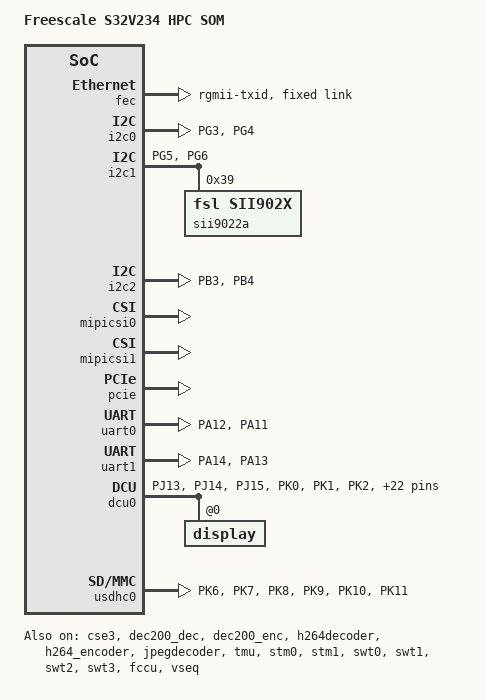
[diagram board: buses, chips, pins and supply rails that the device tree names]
// SPDX-License-Identifier: GPL-2.0+
/*
 * Copyright 2021 NXP
 *
 * This program is free software; you can redistribute it and/or modify
 * it under the terms of the GNU General Public License as published by
 * the Free Software Foundation; either version 2 of the License, or
 * (at your option) any later version.
 */

/dts-v1/;
#include "fsl-s32v234.dtsi"

/ {
	model = "Freescale S32V234 HPC SOM";
	compatible = "fsl,s32v234";

	chosen {
		stdout-path = "serial0:115200n8";
	};

	memory_DDR0@80000000 {
		device_type = "memory";
		reg = <0 0x80000000 0 0x20000000>;
	};

	memory_DDR1@c0000000 {
		device_type = "memory";
		reg = <0 0xc0000000 0 0x20000000>;
	};
};

&cse3 {
	status = "okay";
};

&dec200_dec {
	status = "okay";
};

&dec200_enc {
	status = "okay";
};

&edma {
	status = "okay";
};

&fdma {
	status = "okay";
};

&fec {
	status = "okay";
	phy-mode = "rgmii-txid";
	fixed-link {
		speed=<1000>;
		full-duplex;
	};
};

&gpioother {
	pinctrl-names = "default";
	pinctrl-0 = <&pinctrl_gpio>;
	status = "okay";
};

&h264decoder {
	status = "okay";
};

&h264_encoder {
	status = "okay";
};

&i2c0 {
	pinctrl-names = "default";
	pinctrl-0 = <&pinctrl_i2c0>;
	status = "okay";
};

&i2c1 {
	pinctrl-names = "default";
	pinctrl-0 = <&pinctrl_i2c1>;
	status = "okay";

	sii9022a@39 {
		compatible = "fsl,sii902x";
		reg = <0x39>;
	};
};

&i2c2 {
	pinctrl-names = "default";
	pinctrl-0 = <&pinctrl_i2c2>;
	status = "okay";
};

&jpegdecoder {
	status = "okay";
};

&mipicsi0 {
	status = "okay";
};

&mipicsi1 {
	status = "okay";
};

&pcie {
	status = "okay";
};

&gpioeirq {
	pinctrl-names = "default";
	pinctrl-0 = <&pinctrl_gpioeirq>;
	status = "okay";
};

&pinctrl {
	status = "okay";

	s32v234-conti-hpc {

		pinctrl_uart0: uart0grp {
			fsl,pins = <
				S32V234_PAD_PA12__UART0_TXD
				S32V234_PAD_PA11__UART0_RXD_OUT
				S32V234_PAD_PA11__UART0_RXD_IN
			>;
		};

		pinctrl_uart1: uart1grp {
			fsl,pins = <
				S32V234_PAD_PA14__UART1_TXD
				S32V234_PAD_PA13__UART1_RXD_OUT
				S32V234_PAD_PA13__UART1_RXD_IN
			>;
		};

		pinctrl_i2c0: i2c0grp {
			fsl,pins = <
				S32V234_PAD_PG3__I2C0_DATA_OUT
				S32V234_PAD_PG3__I2C0_DATA_IN
				S32V234_PAD_PG4__I2C0_SCLK_OUT
				S32V234_PAD_PG4__I2C0_SCLK_IN
			>;
		};

		pinctrl_i2c1: i2c1grp {
			fsl,pins = <
				S32V234_PAD_PG5__I2C1_DATA_OUT
				S32V234_PAD_PG5__I2C1_DATA_IN
				S32V234_PAD_PG6__I2C1_SCLK_OUT
				S32V234_PAD_PG6__I2C1_SCLK_IN
			>;
		};

		pinctrl_i2c2: i2c2grp {
			fsl,pins = <
				S32V234_PAD_PB3__I2C2_DATA_OUT
				S32V234_PAD_PB3__I2C2_DATA_IN
				S32V234_PAD_PB4__I2C2_SCLK_OUT
				S32V234_PAD_PB4__I2C2_SCLK_IN
			>;
		};

		pinctrl_dcu: dcugrp {
			fsl,pins = <
				S32V234_PAD_PJ13__DCU_B0_D18
				S32V234_PAD_PJ14__DCU_B1_D19
				S32V234_PAD_PJ15__DCU_B2_D20
				S32V234_PAD_PK0__DCU_B3_D21
				S32V234_PAD_PK1__DCU_B4_D22
				S32V234_PAD_PK2__DCU_B5_D23
				S32V234_PAD_PK3__DCU_B6_D24
				S32V234_PAD_PK4__DCU_B7_D25
				S32V234_PAD_PJ5__DCU_G0_D10
				S32V234_PAD_PJ6__DCU_G1_D11
				S32V234_PAD_PJ7__DCU_G2_D12
				S32V234_PAD_PJ8__DCU_G3_D13
				S32V234_PAD_PJ9__DCU_G4_D14
				S32V234_PAD_PJ10__DCU_G5_D15
				S32V234_PAD_PJ11__DCU_G6_D16
				S32V234_PAD_PJ12__DCU_G7_D17
				S32V234_PAD_PH13__DCU_R0_D2
				S32V234_PAD_PH14__DCU_R1_D3
				S32V234_PAD_PH15__DCU_R2_D4
				S32V234_PAD_PJ0__DCU_R3_D5
				S32V234_PAD_PJ1__DCU_R4_D6
				S32V234_PAD_PJ2__DCU_R5_D7
				S32V234_PAD_PJ3__DCU_R6_D8
				S32V234_PAD_PJ4__DCU_R7_D9
				S32V234_PAD_PH9__DCU_VSYNC_C2
				S32V234_PAD_PH8__DCU_HSYNC_C1
				S32V234_PAD_PH10__DCU_DE_C3
				S32V234_PAD_PH12__DCU_PCLK_D1_DSE_80
			>;
		};

		pinctrl_usdhc0: usdhc0grp {
			fsl,pins = <
				S32V234_PAD_PK6__USDHC_CLK_OUT
				S32V234_PAD_PK6__USDHC_CLK_IN
				S32V234_PAD_PK7__USDHC_CMD_OUT
				S32V234_PAD_PK7__USDHC_CMD_IN
				S32V234_PAD_PK8__USDHC_DAT0_OUT
				S32V234_PAD_PK8__USDHC_DAT0_IN
				S32V234_PAD_PK9__USDHC_DAT1_OUT
				S32V234_PAD_PK9__USDHC_DAT1_IN
				S32V234_PAD_PK10__USDHC_DAT2_OUT
				S32V234_PAD_PK10__USDHC_DAT2_IN
				S32V234_PAD_PK11__USDHC_DAT3_OUT
				S32V234_PAD_PK11__USDHC_DAT3_IN
			>;
		};

		pinctrl_enet: enetgrp {
			fsl,pins = <
				S32V234_PAD_PC15__TXCLK_OUT
				S32V234_PAD_PC15__TXCLK_IN
				S32V234_PAD_PD0__RXCLK_OUT
				S32V234_PAD_PD0__RXCLK_IN
				S32V234_PAD_PD11__TX_EN_OUT
				S32V234_PAD_PD4__RX_DV_OUT
				S32V234_PAD_PD4__RX_DV_IN
				S32V234_PAD_PD7__TX_D0_OUT
				S32V234_PAD_PD1__RX_D0_OUT
				S32V234_PAD_PD1__RX_D0_IN
				S32V234_PAD_PD8__TX_D1_OUT
				S32V234_PAD_PD2__RX_D1_OUT
				S32V234_PAD_PD2__RX_D1_IN
				S32V234_PAD_PD9__TX_D2_OUT
				S32V234_PAD_PD3__RX_D2_OUT
				S32V234_PAD_PD3__RX_D2_IN
				S32V234_PAD_PD10__TX_D3_OUT
				S32V234_PAD_PD4__RX_D3_OUT
				S32V234_PAD_PD4__RX_D3_IN
			>;
		};

		pinctrl_gpio: gpiogrp {
			fsl,pins = <
				S32V234_PAD_PC1__SIUL_GPIO33
				S32V234_PAD_PK12__SIUL_GPIO156
				S32V234_PAD_PK15__SIUL_GPIO159
				S32V234_PAD_PL0__SIUL_GPIO160
				S32V234_PAD_PL1__SIUL_GPIO161
				S32V234_PAD_PL2__SIUL_GPIO162
				S32V234_PAD_PK13__SIUL_GPIO157
				S32V234_PAD_PK14__SIUL_GPIO158
				>;
		};

		pinctrl_gpioeirq: gpioeirqgrp {
			fsl,pins = <
				S32V234_PAD_PA8__SIUL_EIRQ8
				S32V234_PAD_PA5__SIUL_EIRQ5
			>;
		};

	};
};

&tmu {
	status = "okay";
};

&stm0 {
	status = "okay";
};

&stm1 {
	status = "okay";
};

&swt0 {
	status = "okay";
};

&swt1 {
	status = "okay";
};

&swt2 {
	status = "okay";
};

&swt3 {
	status = "okay";
};

&fccu {
	status = "okay";
};

&uart0 {
	pinctrl-names = "default";
	pinctrl-0 = <&pinctrl_uart0>;
	status = "okay";
};

&uart1 {
	pinctrl-names = "default";
	pinctrl-0 = <&pinctrl_uart1>;
	status = "okay";
};

&dcu0 {
	pinctrl-names = "default";
	pinctrl-0 = <&pinctrl_dcu>;
	status = "okay";

	display = <&display>;

	display: display@0 {
		bits-per-pixel = <32>;

		display-timings {
			native-mode = <&timing0>;

			timing0: hdmi-fhd {
				clock-frequency = <150000000>;
				hactive = <1920>;
				vactive = <1080>;
				vback-porch = <36>;
				vfront-porch = <4>;
				hback-porch = <148>;
				hfront-porch = <88>;
				hsync-len = <45>;
				vsync-len = <16>;
			};

			timing1: hdmi-wuxga {
				clock-frequency = <150000000>;
				hactive = <1920>;
				vactive = <1200>;
				vback-porch = <40>;
				vfront-porch = <5>;
				hback-porch = <65>;
				hfront-porch = <13>;
				hsync-len = <2>;
				vsync-len = <5>;
			};

			timing2: hdmi-ntsc {
				clock-frequency = <25000000>;
				hactive = <720>;
				vactive = <480>;
				vback-porch = <10>;
				vfront-porch = <1>;
				hback-porch = <85>;
				hfront-porch = <17>;
				hsync-len = <21>;
				vsync-len = <3>;
			};

			timing3: hdmi-pal {
				clock-frequency = <50000000>;
				hactive = <720>;
				vactive = <576>;
				vback-porch = <83>;
				vfront-porch = <21>;
				hback-porch = <385>;
				hfront-porch = <24>;
				hsync-len = <91>;
				vsync-len = <3>;
			};

			timing4: hdmi-vga {
				clock-frequency = <25000000>;
				hactive = <640>;
				vactive = <480>;
				vback-porch = <33>;
				vfront-porch = <9>;
				hback-porch = <48>;
				hfront-porch = <16>;
				hsync-len = <91>;
				vsync-len = <2>;
			};

			timing5: hdmi-wxga {
				clock-frequency = <75000000>;
				hactive = <1280>;
				vactive = <720>;
				vback-porch = <20>;
				vfront-porch = <5>;
				hback-porch = <220>;
				hfront-porch = <110>;
				hsync-len = <37>;
				vsync-len = <14>;
			};

			timing6: hdmi-xga {
				clock-frequency = <75000000>;
				hactive = <1024>;
				vactive = <768>;
				vback-porch = <49>;
				vfront-porch = <10>;
				hback-porch = <272>;
				hfront-porch = <69>;
				hsync-len = <136>;
				vsync-len = <6>;
			};

		};
	};
};

&usdhc0 {
	no-1-8-v;
	pinctrl-names = "default";
	pinctrl-0 = <&pinctrl_usdhc0>;
	status = "okay";
};

&vseq {
	status = "okay";
};

